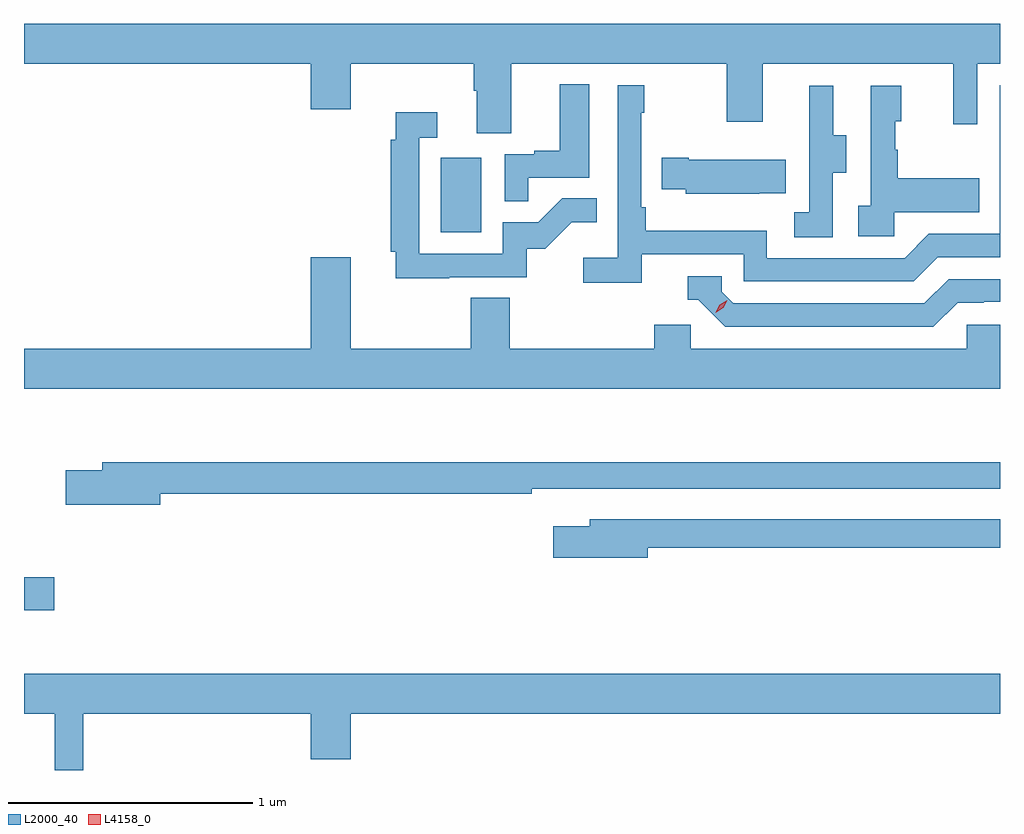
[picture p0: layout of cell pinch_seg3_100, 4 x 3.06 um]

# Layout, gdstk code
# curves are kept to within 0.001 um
import gdstk
lib = gdstk.Library(unit=1e-6, precision=1e-09)
def R(c, l, rs):  # rectangles x0, y0, x1, y1
    for r in rs: c.add(gdstk.rectangle(r[:2], r[2:], *l))
def P(c, l, *ps):  # polygons
    for p in ps: c.add(gdstk.Polygon(p, *l))
L2000_40 = (2000, 40)
L4158_0 = (4158, 0)

pinch_seg3_100 = lib.new_cell('pinch_seg3_100')
R(pinch_seg3_100, L2000_40, [(1074.921,726.647,1075.045,726.782), (1076.63,728.196,1076.794,728.503)])
P(pinch_seg3_100, L2000_40, [(1076.917,728.888),(1077.802,728.888),(1077.802,728.649),(1077.949,728.649),(1077.949,728.888),(1078.73,728.888),(1078.73,728.64),(1078.827,728.64),(1078.827,728.888),(1078.921,728.888),(1078.921,729.052),(1074.921,729.052),(1074.921,728.888),(1076.096,728.888),(1076.096,728.7),(1076.26,728.7),(1076.26,728.888),(1076.765,728.888),(1076.765,728.776),(1076.777,728.776),(1076.777,728.602),(1076.917,728.602)],
  [(1076.987,728.421),(1077.238,728.421),(1077.238,728.803),(1077.116,728.803),(1077.116,728.53),(1077.013,728.53),(1077.013,728.517),(1076.892,728.517),(1076.892,728.323),(1076.987,728.323)],
  [(1077.452,728.106),(1077.87,728.106),(1077.87,727.995),(1078.567,727.995),(1078.666,728.094),(1078.921,728.094),(1078.921,728.799),(1078.92,728.19),(1078.629,728.19),(1078.53,728.091),(1077.966,728.091),(1077.966,728.203),(1077.47,728.203),(1077.47,728.299),(1077.45,728.299),(1077.45,728.687),(1077.463,728.687),(1077.463,728.8),(1077.354,728.8),(1077.354,728.092),(1077.213,728.092),(1077.213,727.99),(1077.452,727.99)],
  [(1078.488,728.279),(1078.835,728.279),(1078.835,728.419),(1078.501,728.419),(1078.501,728.534),(1078.491,728.534),(1078.491,728.652),(1078.516,728.652),(1078.516,728.797),(1078.392,728.797),(1078.392,728.306),(1078.341,728.306),(1078.341,728.181),(1078.488,728.181)],
  [(1078.236,728.44),(1078.291,728.44),(1078.291,728.595),(1078.237,728.595),(1078.237,728.797),(1078.139,728.797),(1078.139,728.583),(1078.14,728.583),(1078.14,728.279),(1078.077,728.279),(1078.077,728.176),(1078.236,728.176)],
  [(1076.663,728.013),(1076.982,728.013),(1076.982,728.13),(1077.058,728.13),(1077.165,728.237),(1077.269,728.237),(1077.269,728.336),(1077.126,728.336),(1077.028,728.238),(1076.883,728.238),(1076.883,728.109),(1076.541,728.109),(1076.541,728.583),(1076.614,728.583),(1076.614,728.689),(1076.444,728.689),(1076.444,728.576),(1076.425,728.576),(1076.425,728.116),(1076.444,728.116),(1076.444,728.008),(1076.663,728.008)],
  [(1077.935,728.357),(1078.043,728.357),(1078.043,728.494),(1077.646,728.494),(1077.646,728.502),(1077.535,728.502),(1077.535,728.372),(1077.633,728.372),(1077.633,728.354),(1077.935,728.354)],
  [(1078.921,727.818),(1078.785,727.818),(1078.785,727.72),(1077.654,727.72),(1077.654,727.818),(1077.503,727.818),(1077.503,727.72),(1076.912,727.72),(1076.912,727.928),(1076.752,727.928),(1076.752,727.72),(1076.26,727.72),(1076.26,728.095),(1076.096,728.095),(1076.096,727.72),(1074.921,727.72),(1074.921,727.556),(1078.921,727.556)],
  [(1078.747,727.908),(1078.854,727.908),(1078.854,727.911),(1078.921,727.911),(1078.921,728.004),(1078.71,728.004),(1078.611,727.905),(1077.828,727.905),(1077.78,727.953),(1077.78,728.016),(1077.641,728.016),(1077.641,727.92),(1077.684,727.92),(1077.795,727.809),(1078.648,727.809)],
  [(1075.48,727.126),(1077.002,727.126),(1077.002,727.146),(1078.921,727.146),(1078.921,727.255),(1075.241,727.255),(1075.241,727.221),(1075.092,727.221),(1075.092,727.079),(1075.48,727.079)],
  [(1077.478,726.904),(1078.921,726.904),(1078.921,727.02),(1077.239,727.02),(1077.239,726.991),(1077.09,726.991),(1077.09,726.862),(1077.478,726.862)],
  [(1075.163,726.224),(1076.096,726.224),(1076.096,726.036),(1076.26,726.036),(1076.26,726.224),(1078.921,726.224),(1078.921,726.388),(1074.921,726.388),(1074.921,726.224),(1075.046,726.224),(1075.046,725.991),(1075.163,725.991)])
P(pinch_seg3_100, L4158_0, [(1077.756,727.867),(1077.756,727.868),(1077.773,727.9),(1077.803,727.919),(1077.804,727.919),(1077.804,727.919),(1077.787,727.887),(1077.756,727.867)])

lib.write_gds('pinch_seg3_100.gds')
